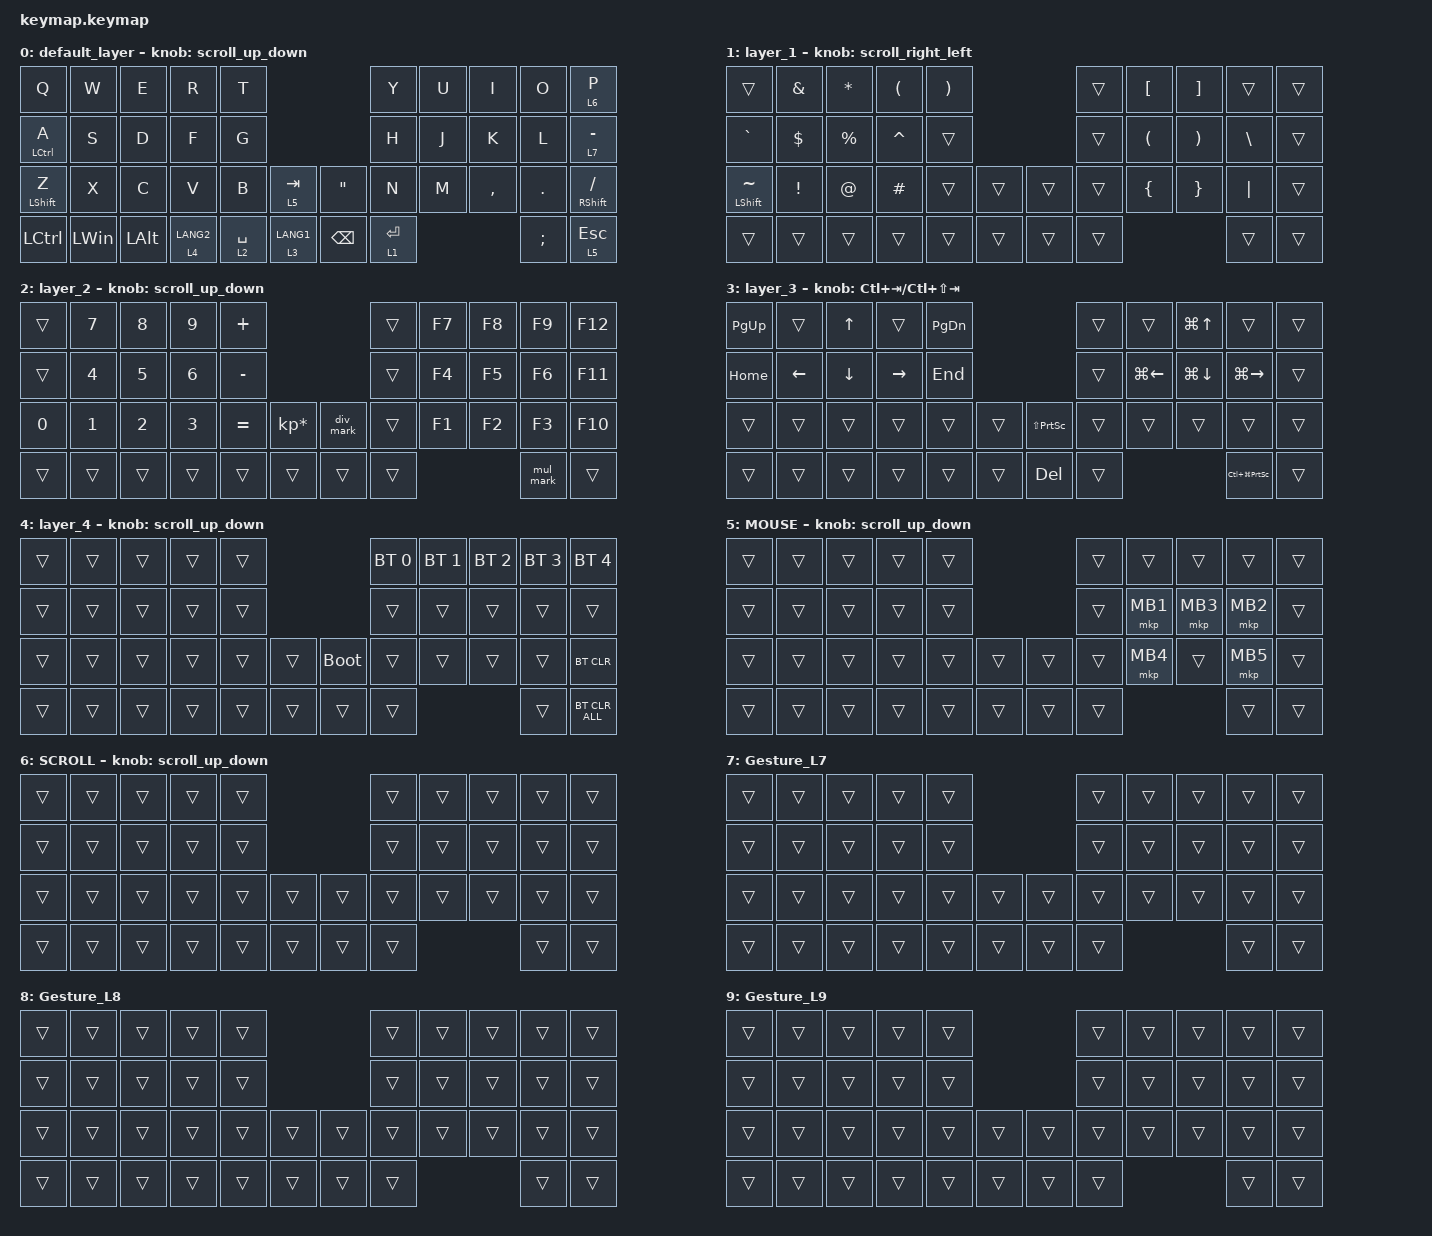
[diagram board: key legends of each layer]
#include <behaviors.dtsi>
#include <dt-bindings/zmk/bt.h>
#include <dt-bindings/zmk/keys.h>
#include <dt-bindings/zmk/pointing.h>
#include "gesture/gesture_L7.dtsi"
#include "gesture/gesture_L8.dtsi"
#include "gesture/gesture_L9.dtsi"

#define ZMK_POINTING_DEFAULT_SCRL_VAL 100
#define MOUSE 5

&mt {
    flavor = "balanced";
    quick-tap-ms = <0>;
};

&lt {
    quick-tap-ms = <200>;
    flavor = "balanced";
};

/ {
    combos {
        compatible = "zmk,combos";

        Gesture_L8 {
            bindings = <&lt 8 LA(TAB)>;
            key-positions = <8 9>;
        };

        Gesture_L9 {
            bindings = <&lt 9 LEFT_WIN>;
            key-positions = <19 20>;
        };

        a {
            bindings = <&none>;
            key-positions = <17 29 18 19 31 10 21>;
        };
    };

    macros {
        to_layer_0: to_layer_0 {
            compatible = "zmk,behavior-macro-one-param";
            #binding-cells = <1>;
            bindings = <&to 0 &macro_param_1to1 &kp MACRO_PLACEHOLDER>;
            label = "TO_LAYER_0";
        };

        mul_mark: x_sign_win {
            compatible = "zmk,behavior-macro";
            #binding-cells = <0>;
            wait-ms = <10>;
            tap-ms = <10>;
            bindings =
                <&macro_press>,
                <&kp LALT>,
                <&macro_tap>,
                <&kp KP_N0 &kp KP_N2 &kp KP_N1 &kp KP_N5>,
                <&macro_release>,
                <&kp LALT>;
        };

        div_mark: div_mark {
            compatible = "zmk,behavior-macro";
            label = "DIV_MARK";
            #binding-cells = <0>;
            wait-ms = <10>;
            tap-ms = <10>;
            bindings =
                <&macro_press>,
                <&kp LALT>,
                <&macro_tap>,
                <&kp KP_N0 &kp KP_N2 &kp KP_N4 &kp KP_N7>,
                <&macro_release>,
                <&kp LALT>;
        };

        exit_AML: exit_AML {
            compatible = "zmk,behavior-macro";
            wait-ms = <0>;
            tap-ms = <0>;
            #binding-cells = <0>;
            bindings = <&tog_off MOUSE>;
            label = "exit_AML";
        };

        kp_exit_AML: kp_exit_AML {
            compatible = "zmk,behavior-macro-one-param";
            wait-ms = <0>;
            tap-ms = <0>;
            #binding-cells = <1>;
            bindings = <&macro_param_1to1 &kp MACRO_PLACEHOLDER &exit_AML>;
            label = "KP_exit_AML";
        };
    };

    behaviors {
        lt_to_layer_0: lt_to_layer_0 {
            compatible = "zmk,behavior-hold-tap";
            label = "LAYER_TAP_TO_0";
            #binding-cells = <2>;
            tapping-term-ms = <200>;
            bindings = <&mo>, <&to_layer_0>;
        };

        scroll_up_down: mouse_wheel_up_down {
            compatible = "zmk,behavior-sensor-rotate";
            #sensor-binding-cells = <0>;
            tap-ms = <20>;
            bindings = <&msc SCRL_DOWN>, <&msc SCRL_UP>;
        };

        scroll_right_left: mouse_wheel_right_left {
            compatible = "zmk,behavior-sensor-rotate";
            #sensor-binding-cells = <0>;
            tap-ms = <20>;
            bindings = <&msc SCRL_LEFT>, <&msc SCRL_RIGHT>;
        };

        tog_off: toggle_layer_off {
            compatible = "zmk,behavior-toggle-layer";
            #binding-cells = <1>;
            display-name = "Toggle Layer Off";
            toggle-mode = "off";
        };

        mt_exit_AML_on_tap: mt_exit_AML_on_tap {
            compatible = "zmk,behavior-hold-tap";
            label = "MT_exit_AML_ON_TAP";
            bindings = <&kp>, <&kp_exit_AML>;

            #binding-cells = <2>;
            tapping-term-ms = <200>;
            flavor = "balanced";
            quick-tap-ms = <200>;
        };
    };

    keymap {
        compatible = "zmk,keymap";

        default_layer {
            bindings = <
&kp Q                             &kp W         &kp E         &kp R        &kp T                                                     &kp Y        &kp U  &kp I      &kp O          &lt 6 P
&mt_exit_AML_on_tap LCTRL A       &kp S         &kp D         &kp F        &kp G                                  　　　　　　　      &kp H        &kp J  &kp K      &kp L          &lt 7 MINUS
&mt_exit_AML_on_tap LEFT_SHIFT Z  &kp X         &kp C         &kp V        &kp B        &lt 5 TAB                 &kp DOUBLE_QUOTES  &kp N        &kp M  &kp COMMA  &kp DOT        &mt RIGHT_SHIFT SLASH
&kp LCTRL                         &kp LEFT_WIN  &kp LEFT_ALT  &lt 4 LANG2  &lt 2 SPACE  &lt_to_layer_0 3 LANG1    &kp BACKSPACE      &lt 1 ENTER                    &kp SEMICOLON  &lt 5 ESCAPE
            >;

            sensor-bindings = <&scroll_up_down>;
        };

        layer_1 {
            bindings = <
&trans           &kp AMPERSAND  &kp ASTRK    &kp LEFT_PARENTHESIS  &kp RIGHT_PARENTHESIS                    &trans  &kp LEFT_BRACKET      &kp RIGHT_BRACKET      &trans         &trans
&kp GRAVE        &kp DOLLAR     &kp PERCENT  &kp CARET             &trans                                   &trans  &kp LEFT_PARENTHESIS  &kp RIGHT_PARENTHESIS  &kp BACKSLASH  &trans
&mt LSHFT TILDE  &kp EXCL       &kp AT       &kp HASH              &trans                 &trans    &trans  &trans  &kp LEFT_BRACE        &kp RIGHT_BRACE        &kp PIPE       &trans
&trans           &trans         &trans       &trans                &trans                 &trans    &trans  &trans                                               &trans         &trans
            >;

            sensor-bindings = <&scroll_right_left>;
        };

        layer_2 {
            bindings = <
&trans  &kp N7  &kp N8  &kp N9  &kp PLUS                                 &trans  &kp F7  &kp F8  &kp F9     &kp F12
&trans  &kp N4  &kp N5  &kp N6  &kp MINUS                                &trans  &kp F4  &kp F5  &kp F6     &kp F11
&kp N0  &kp N1  &kp N2  &kp N3  &kp EQUAL  &kp KP_MULTIPLY    &div_mark  &trans  &kp F1  &kp F2  &kp F3     &kp F10
&trans  &trans  &trans  &trans  &trans     &trans             &trans     &trans                  &mul_mark  &trans
            >;

            sensor-bindings = <&scroll_up_down>;
        };

        layer_3 {
            bindings = <
&kp PAGE_UP  &trans    &kp UP_ARROW  &trans           &kp PAGE_DOWN                                     &trans  &trans              &kp LG(UP_ARROW)    &trans                   &trans
&kp HOME     &kp LEFT  &kp DOWN      &kp RIGHT_ARROW  &kp END                                           &trans  &kp LG(LEFT_ARROW)  &kp LG(DOWN_ARROW)  &kp LG(RIGHT_ARROW)      &trans
&trans       &trans    &trans        &trans           &trans         &trans    &kp LS(PRINTSCREEN)      &trans  &trans              &trans              &trans                   &trans
&trans       &trans    &trans        &trans           &trans         &trans    &kp DEL                  &trans                                          &kp LC(LG(PRINTSCREEN))  &trans
            >;

            sensor-bindings = <&inc_dec_kp LC(TAB) LC(LS(TAB))>;
        };

        layer_4 {
            bindings = <
&trans  &trans  &trans  &trans  &trans                         &bt BT_SEL 0  &bt BT_SEL 1  &bt BT_SEL 2  &bt BT_SEL 3  &bt BT_SEL 4
&trans  &trans  &trans  &trans  &trans                         &trans        &trans        &trans        &trans        &trans
&trans  &trans  &trans  &trans  &trans  &trans    &bootloader  &trans        &trans        &trans        &trans        &bt BT_CLR
&trans  &trans  &trans  &trans  &trans  &trans    &trans       &trans                                    &trans        &bt BT_CLR_ALL
            >;

            sensor-bindings = <&scroll_up_down>;
        };

        MOUSE {
            bindings = <
&trans  &trans  &trans  &trans  &trans                    &trans  &trans    &trans    &trans    &trans
&trans  &trans  &trans  &trans  &trans                    &trans  &mkp MB1  &mkp MB3  &mkp MB2  &trans
&trans  &trans  &trans  &trans  &trans  &trans    &trans  &trans  &mkp MB4  &trans    &mkp MB5  &trans
&trans  &trans  &trans  &trans  &trans  &trans    &trans  &trans                      &trans    &trans
            >;

            sensor-bindings = <&scroll_up_down>;
        };

        SCROLL {
            bindings = <
&trans  &trans  &trans  &trans  &trans                    &trans  &trans  &trans  &trans  &trans
&trans  &trans  &trans  &trans  &trans                    &trans  &trans  &trans  &trans  &trans
&trans  &trans  &trans  &trans  &trans  &trans    &trans  &trans  &trans  &trans  &trans  &trans
&trans  &trans  &trans  &trans  &trans  &trans    &trans  &trans                  &trans  &trans
            >;

            sensor-bindings = <&scroll_up_down>;
        };

        Gesture_L7 {
            bindings = <
&trans  &trans  &trans  &trans  &trans                    &trans  &trans  &trans  &trans  &trans
&trans  &trans  &trans  &trans  &trans                    &trans  &trans  &trans  &trans  &trans
&trans  &trans  &trans  &trans  &trans  &trans    &trans  &trans  &trans  &trans  &trans  &trans
&trans  &trans  &trans  &trans  &trans  &trans    &trans  &trans                  &trans  &trans
            >;
        };

        Gesture_L8 {
            bindings = <
&trans  &trans  &trans  &trans  &trans                    &trans  &trans  &trans  &trans  &trans
&trans  &trans  &trans  &trans  &trans                    &trans  &trans  &trans  &trans  &trans
&trans  &trans  &trans  &trans  &trans  &trans    &trans  &trans  &trans  &trans  &trans  &trans
&trans  &trans  &trans  &trans  &trans  &trans    &trans  &trans                  &trans  &trans
            >;
        };

        Gesture_L9 {
            bindings = <
&trans  &trans  &trans  &trans  &trans                    &trans  &trans  &trans  &trans  &trans
&trans  &trans  &trans  &trans  &trans                    &trans  &trans  &trans  &trans  &trans
&trans  &trans  &trans  &trans  &trans  &trans    &trans  &trans  &trans  &trans  &trans  &trans
&trans  &trans  &trans  &trans  &trans  &trans    &trans  &trans                  &trans  &trans
            >;
        };
    };
};
